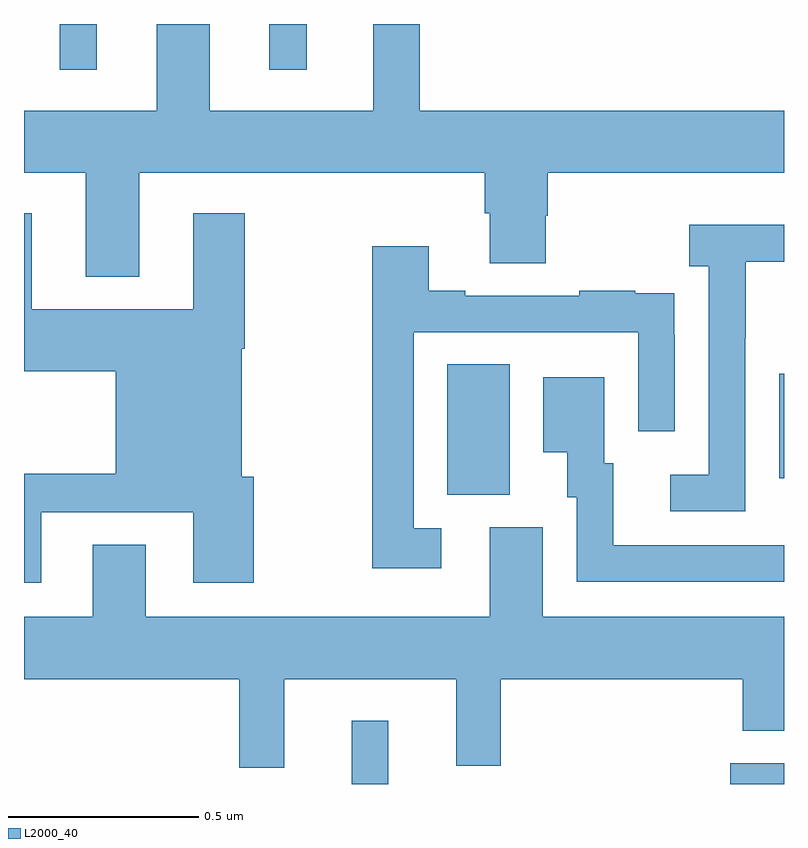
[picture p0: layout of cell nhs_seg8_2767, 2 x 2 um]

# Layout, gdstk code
import gdstk
lib = gdstk.Library(unit=1e-6, precision=1e-09)
def R(c, l, rs):  # rectangles x0, y0, x1, y1
    for r in rs: c.add(gdstk.rectangle(r[:2], r[2:], *l))
def P(c, l, *ps):  # polygons
    for p in ps: c.add(gdstk.Polygon(p, *l))
L2000_40 = (2000, 40)

nhs_seg8_2767 = lib.new_cell('nhs_seg8_2767')
R(nhs_seg8_2767, L2000_40, [(148.862,1106.9,148.959,1107.067), (149.859,1106.9,150,1106.955), (149.114,1107.661,149.278,1108.004), (149.987,1107.705,150,1107.979), (148.094,1108.779,148.192,1108.9), (148.646,1108.779,148.744,1108.9)])
P(nhs_seg8_2767, L2000_40, [(148.303,1108.508),(149.213,1108.508),(149.213,1108.402),(149.225,1108.402),(149.225,1108.27),(149.373,1108.27),(149.373,1108.395),(149.378,1108.395),(149.378,1108.508),(150,1108.508),(150,1108.672),(149.041,1108.672),(149.041,1108.9),(148.919,1108.9),(148.919,1108.672),(148.489,1108.672),(148.489,1108.9),(148.349,1108.9),(148.349,1108.672),(148,1108.672),(148,1108.508),(148.163,1108.508),(148.163,1108.235),(148.303,1108.235)],
  [(148.045,1107.615),(148.445,1107.615),(148.445,1107.429),(148.605,1107.429),(148.605,1107.708),(148.573,1107.708),(148.573,1108.046),(148.581,1108.046),(148.581,1108.402),(148.445,1108.402),(148.445,1108.15),(148.021,1108.15),(148.021,1108.402),(148,1108.402),(148,1107.986),(148.241,1107.986),(148.241,1107.716),(148,1107.716),(148,1107.429),(148.045,1107.429)],
  [(149.898,1108.075),(149.899,1108.075),(149.899,1108.275),(150,1108.275),(150,1108.372),(149.751,1108.372),(149.751,1108.262),(149.802,1108.262),(149.802,1107.714),(149.7,1107.714),(149.7,1107.618),(149.898,1107.618)],
  [(149.098,1107.573),(149.025,1107.573),(149.025,1108.089),(149.616,1108.089),(149.616,1107.828),(149.712,1107.828),(149.712,1108.082),(149.711,1108.082),(149.711,1108.191),(149.609,1108.191),(149.609,1108.198),(149.461,1108.198),(149.461,1108.185),(149.161,1108.185),(149.161,1108.198),(149.065,1108.198),(149.065,1108.315),(148.917,1108.315),(148.917,1107.468),(149.098,1107.468)],
  [(150,1107.528),(149.551,1107.528),(149.551,1107.744),(149.527,1107.744),(149.527,1107.97),(149.366,1107.97),(149.366,1107.773),(149.429,1107.773),(149.429,1107.654),(149.454,1107.654),(149.454,1107.432),(150,1107.432)],
  [(148.685,1107.176),(149.138,1107.176),(149.138,1106.948),(149.255,1106.948),(149.255,1107.176),(149.891,1107.176),(149.891,1107.04),(150,1107.04),(150,1107.34),(149.365,1107.34),(149.365,1107.576),(149.225,1107.576),(149.225,1107.34),(148.321,1107.34),(148.321,1107.53),(148.181,1107.53),(148.181,1107.34),(148,1107.34),(148,1107.176),(148.567,1107.176),(148.567,1106.943),(148.685,1106.943)])

lib.write_gds('nhs_seg8_2767.gds')
